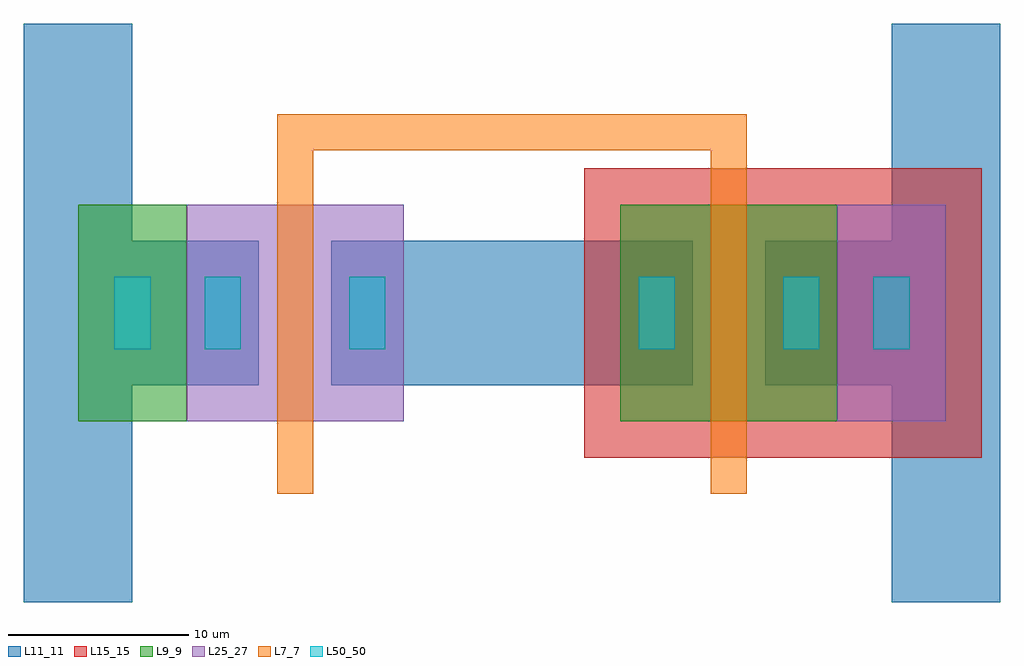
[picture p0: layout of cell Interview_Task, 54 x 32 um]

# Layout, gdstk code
import gdstk
lib = gdstk.Library(unit=1e-6, precision=1e-09)
def R(c, l, rs):  # rectangles x0, y0, x1, y1
    for r in rs: c.add(gdstk.rectangle(r[:2], r[2:], *l))
def P(c, l, *ps):  # polygons
    for p in ps: c.add(gdstk.Polygon(p, *l))
L7_7 = (7, 7)
L9_9 = (9, 9)
L11_11 = (11, 11)
L15_15 = (15, 15)
L25_27 = (25, 27)
L50_50 = (50, 50)

interview_task = lib.new_cell('Interview_Task')
P(interview_task, L7_7, [(13,-10),(13,11),(-13,11),(-13,-10),(-11,-10),(-11,9),(11,9),(11,-10)])
R(interview_task, L9_9, [(-24,-6,-18,6), (6,-6,18,6)])
R(interview_task, L11_11, [(-10,-4,10,4)])
P(interview_task, L11_11, [(14,-4),(14,4),(21,4),(21,16),(27,16),(27,-16),(21,-16),(21,-4)],
  [(-14,-4),(-14,4),(-21,4),(-21,16),(-27,16),(-27,-16),(-21,-16),(-21,-4)])
R(interview_task, L15_15, [(4,-8,26,8)])
R(interview_task, L25_27, [(-18,-6,-6,6), (18,-6,24,6)])
R(interview_task, L50_50, [(-22,-2,-20,2), (-17,-2,-15,2), (-9,-2,-7,2), (7,-2,9,2), (15,-2,17,2), (20,-2,22,2)])

lib.write_gds('Interview_Task.gds')
